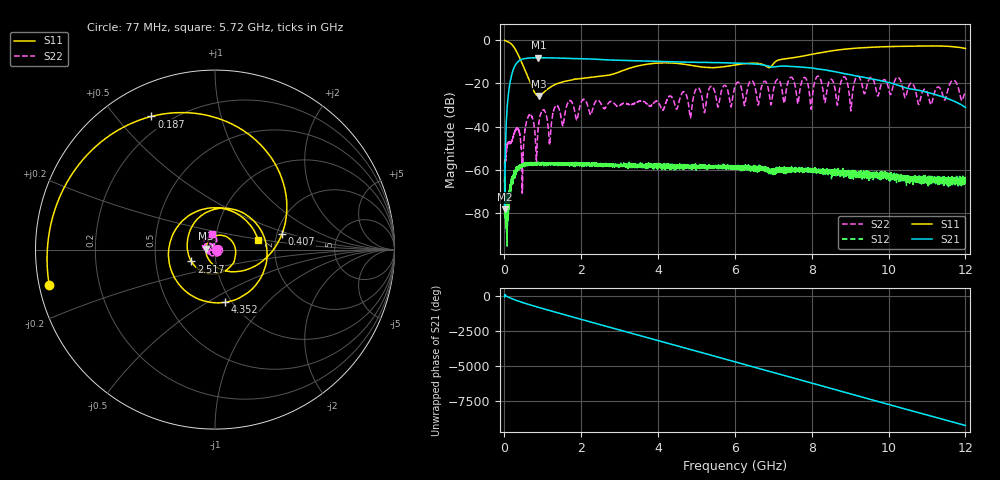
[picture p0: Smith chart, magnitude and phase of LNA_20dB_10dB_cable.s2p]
!Keysight Technologies,N5242B,US61255121,A.15.50.07
!Date: Friday, October 24, 2025 13:13:50
!Correction: S11(Cdelta 2-Port  )
!S21(Cdelta 2-Port  )
!S12(Cdelta 2-Port  )
!S22(Cdelta 2-Port  )
!S2P File: Measurements: S11, S21, S12, S22:
# Hz S  dB  R 50
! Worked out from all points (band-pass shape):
!   11991 points, 10 MHz to 12 GHz, reference 50 ohm
!   highest |S21| = -8.04 dB at 889 MHz (marker M1); lowest = -78.5 dB at 11 MHz (marker M2)
!   |S21| within 3 dB of the highest: 302.9 MHz to 6.593 GHz (6.29 GHz wide, 182 % of centre)
!   lowest |S11| = -25.7 dB at 895 MHz (marker M3), VSWR 1.11, Z = 45.1 + j0.389 ohm
!   |S11| at or under -10 dB: 449.8 MHz to 7.044 GHz (6.594 GHz wide, 176 % of centre)
!   |S22| runs from -70.9 to -16.6 dB; largest |S21 - S12| = 0.4
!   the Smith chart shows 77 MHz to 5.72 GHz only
!   S11 on the Smith chart (normalised r, x): 77 MHz: 0.03, -0.11; 187 MHz: 0.14, +0.62; 407 MHz: 2.13, +0.44; 2.517 GHz: 0.76, -0.10; 4.352 GHz: 0.93, -0.60; 5.72 GHz: 1.62, +0.19
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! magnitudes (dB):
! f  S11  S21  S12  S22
! 10 MHz  0.0  -75.7  -65.9  -57.5
! 11 MHz  0.0  -78.5  -64.7  -56.7
! 77 MHz  -0.5  -30.9  -91.4  -48.8
! 187 MHz  -1.7  -16.5  -67.1  -47.1
! 407 MHz  -8.3  -9.2  -58.5  -43.6
! 484 MHz  -11.4  -8.6  -58.4  -56.7
! 662 MHz  -18.9  -8.1  -57.6  -34.6
! 889 MHz  -25.7  -8.0  -57.6  -40.1
! 895 MHz  -25.7  -8.0  -57.5  -39.1
! 2.009 GHz  -17.7  -8.5  -57.4  -28.5
! 2.517 GHz  -16.6  -8.9  -57.8  -29.4
! 4.007 GHz  -10.5  -9.8  -58.7  -28.7
! 4.352 GHz  -10.5  -10.0  -59.3  -26.1
! 5.72 GHz  -12.2  -10.4  -59.1  -20.9
! 6.005 GHz  -11.4  -10.5  -58.7  -21.3
! 7.642 GHz  -7.7  -12.2  -60.1  -29.5
! 7.816 GHz  -7.1  -12.5  -60.2  -17.2
! 8.004 GHz  -6.5  -12.8  -61.1  -29.2
! 8.162 GHz  -5.9  -13.3  -61.4  -16.6
! 8.344 GHz  -5.3  -13.7  -60.1  -28.9
! 10 GHz  -2.9  -19.5  -63.9  -22.5
! 12 GHz  -3.8  -31.1  -66.1  -23.4
